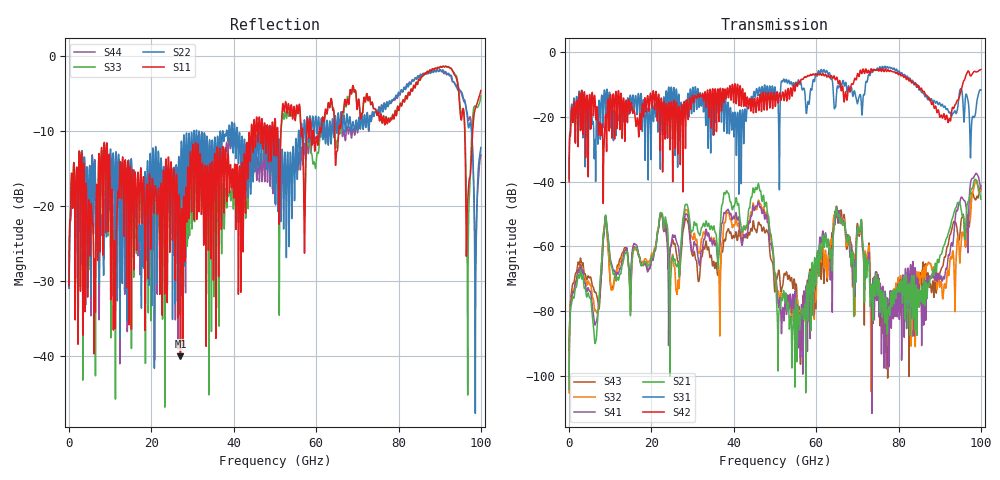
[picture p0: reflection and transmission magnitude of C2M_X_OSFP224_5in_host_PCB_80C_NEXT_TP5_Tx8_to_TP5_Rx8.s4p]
# GHz S RI R 45
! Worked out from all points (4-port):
!   4000 points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, 25 MHz to 100 GHz, reference 45 ohm
!   strongest paths, dB at 25 MHz, 25.02 GHz, 50.02 GHz, 75.03 GHz, 100 GHz:
!     S42: -40.1, -18.9, -15.8, -5.5, -5.4
!     S31: -39.0, -15.9, -10.9, -5.2, -11.7
!     S21: -104.3, -64.2, -68.5, -72.7, -45.5
!     S41: -100.7, -57.3, -68.7, -69.1, -42.3
!     S32: -105.3, -63.1, -69.8, -70.8, -42.9
!     S43: -92.1, -58.6, -73.5, -74.3, -41.4
!   lowest |S11| = -40.1 dB at 27.05 GHz (marker M1), VSWR 1.02, Z = 45.8 - j0.496 ohm
!   |S11| at or under -10 dB: start of sweep to 44.22 GHz; 59.34 GHz to 60.74 GHz (1.403 GHz wide, 2.34 % of centre); 96.08 GHz to 98.01 GHz (1.929 GHz wide, 1.99 % of centre) (the widest 3 of 20)
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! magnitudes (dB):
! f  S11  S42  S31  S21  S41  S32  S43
! 25 MHz  -30.6  -40.1  -39.0  -104.3  -100.7  -105.3  -92.1
! 27.05 GHz  -40.1  -33.0  -20.4  -62.3  -63.0  -62.5  -65.0
! 45.73 GHz  -9.4  -14.0  -12.2  -42.1  -47.4  -47.7  -54.7
! 50.9 GHz  -17.2  -14.5  -23.2  -82.1  -78.8  -74.2  -67.4
! 65.08 GHz  -12.6  -7.9  -11.0  -49.6  -48.6  -48.6  -50.9
! 82.55 GHz  -4.9  -8.9  -8.4  -71.9  -77.9  -80.0  -100.2
! 100 GHz  -4.6  -5.4  -11.7  -45.5  -42.3  -42.9  -41.4
